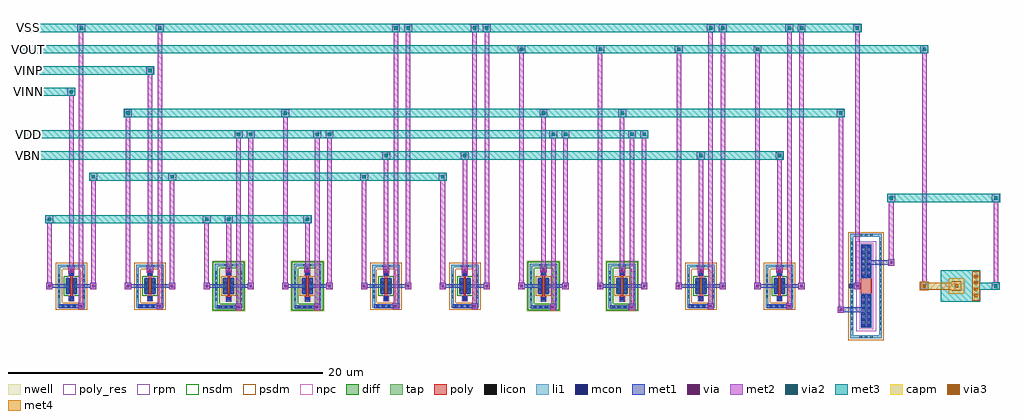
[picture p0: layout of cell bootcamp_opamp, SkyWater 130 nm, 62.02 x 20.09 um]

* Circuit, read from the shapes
.subckt bootcamp_opamp VBN VDD VINN VINP VOUT VSS
XM1 n1 VINN n2 VSS sky130_fd_pr__nfet_01v8 w=1 l=0.15
XM2 n1 VINP n3 VSS sky130_fd_pr__nfet_01v8 w=1 l=0.15
XM3 VSS VBN n1 VSS sky130_fd_pr__nfet_01v8 w=1 l=0.15 m=2
XM4 VSS VBN VOUT VSS sky130_fd_pr__nfet_01v8 w=1 l=0.15 m=2
XM5 VDD n2 n2 VDD sky130_fd_pr__pfet_01v8 w=1 l=0.15
XM6 VDD n2 n3 VDD sky130_fd_pr__pfet_01v8 w=1 l=0.15
XM7 VDD n3 VOUT VDD sky130_fd_pr__pfet_01v8 w=1 l=0.15 m=2
XC8 VOUT n4 sky130_fd_pr__cap_mim_m3_1 w=1 l=1
XR9 n4 n3 VSS sky130_fd_pr__res_high_po w=0.69 l=1
.ends

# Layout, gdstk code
import gdstk
lib = gdstk.Library(unit=1e-6, precision=1e-09)
def R(c, l, rs):  # rectangles x0, y0, x1, y1
    for r in rs: c.add(gdstk.rectangle(r[:2], r[2:], *l))
def A(c, l, x, y, w, h, nx, ny, dx, dy):  # array of equal rectangles
    R(c, l, [(x+i*dx, y+j*dy, x+i*dx+w, y+j*dy+h) for i in range(nx) for j in range(ny)])
nwell = (64, 20)
diff = (65, 20)
tap = (65, 44)
poly_res = (66, 13)
poly = (66, 20)
licon = (66, 44)
li1 = (67, 20)
mcon = (67, 44)
met1 = (68, 20)
via = (68, 44)
met2 = (69, 20)
via2 = (69, 44)
met3 = (70, 20)
via3 = (70, 44)
met4 = (71, 20)
rpm = (86, 20)
capm = (89, 44)
nsdm = (93, 44)
psdm = (94, 20)
npc = (95, 20)

bootcamp_opamp = lib.new_cell('bootcamp_opamp')
R(bootcamp_opamp, nwell, [(8.945,-1.595,11.055,1.595), (13.945,-1.595,16.055,1.595), (28.945,-1.595,31.055,1.595), (33.945,-1.595,36.055,1.595)])
A(bootcamp_opamp, diff, -0.365, -0.5, 0.73, 1, 10, 1, 5, 0)
R(bootcamp_opamp, tap, [(49.505,-3.31,51.495,-3.14), (49.505,-3.14,49.675,3.14), (51.325,-3.14,51.495,3.14), (9.125,-1.415,10.875,-1.245), (14.125,-1.415,15.875,-1.245), (29.125,-1.415,30.875,-1.245), (34.125,-1.415,35.875,-1.245), (-0.875,-1.37,0.875,-1.2), (4.125,-1.37,5.875,-1.2), (19.125,-1.37,20.875,-1.2), (24.125,-1.37,25.875,-1.2), (39.125,-1.37,40.875,-1.2), (44.125,-1.37,45.875,-1.2), (9.125,-1.245,9.295,1.245), (10.705,-1.245,10.875,1.245), (14.125,-1.245,14.295,1.245), (15.705,-1.245,15.875,1.245), (29.125,-1.245,29.295,1.245), (30.705,-1.245,30.875,1.245), (34.125,-1.245,34.295,1.245), (35.705,-1.245,35.875,1.245), (-0.875,-1.2,-0.705,1.2), (0.705,-1.2,0.875,1.2), (4.125,-1.2,4.295,1.2), (5.705,-1.2,5.875,1.2), (19.125,-1.2,19.295,1.2), (20.705,-1.2,20.875,1.2), (24.125,-1.2,24.295,1.2), (25.705,-1.2,25.875,1.2), (39.125,-1.2,39.295,1.2), (40.705,-1.2,40.875,1.2), (44.125,-1.2,44.295,1.2), (45.705,-1.2,45.875,1.2), (-0.875,1.2,0.875,1.37), (4.125,1.2,5.875,1.37), (19.125,1.2,20.875,1.37), (24.125,1.2,25.875,1.37), (39.125,1.2,40.875,1.37), (44.125,1.2,45.875,1.37), (9.125,1.245,10.875,1.415), (14.125,1.245,15.875,1.415), (29.125,1.245,30.875,1.415), (34.125,1.245,35.875,1.415), (49.505,3.14,51.495,3.31)])
R(bootcamp_opamp, poly_res, [(50.155,-0.56,50.845,0.56)])
R(bootcamp_opamp, poly, [(50.155,-2.66,50.845,2.66), (9.835,-0.985,10.165,-0.655), (14.835,-0.985,15.165,-0.655), (29.835,-0.985,30.165,-0.655), (34.835,-0.985,35.165,-0.655), (-0.165,-0.94,0.165,-0.61), (4.835,-0.94,5.165,-0.61), (19.835,-0.94,20.165,-0.61), (24.835,-0.94,25.165,-0.61), (39.835,-0.94,40.165,-0.61), (44.835,-0.94,45.165,-0.61), (9.925,-0.655,10.075,0.655), (14.925,-0.655,15.075,0.655), (29.925,-0.655,30.075,0.655), (34.925,-0.655,35.075,0.655), (-0.075,-0.61,0.075,0.61), (4.925,-0.61,5.075,0.61), (19.925,-0.61,20.075,0.61), (24.925,-0.61,25.075,0.61), (39.925,-0.61,40.075,0.61), (44.925,-0.61,45.075,0.61), (-0.165,0.61,0.165,0.94), (4.835,0.61,5.165,0.94), (19.835,0.61,20.165,0.94), (24.835,0.61,25.165,0.94), (39.835,0.61,40.165,0.94), (44.835,0.61,45.165,0.94), (9.835,0.655,10.165,0.985), (14.835,0.655,15.165,0.985), (29.835,0.655,30.165,0.985), (34.835,0.655,35.165,0.985)])
A(bootcamp_opamp, licon, 50.075, -3.31, 0.17, 0.17, 3, 2, 0.34, 6.45)
A(bootcamp_opamp, licon, 49.505, -2.805, 0.17, 0.17, 1, 17, 0, 0.34)
A(bootcamp_opamp, licon, 51.325, -2.805, 0.17, 0.17, 1, 17, 0, 0.34)
A(bootcamp_opamp, licon, 9.125, -0.935, 0.17, 0.17, 1, 6, 0, 0.34)
A(bootcamp_opamp, licon, 10.705, -0.935, 0.17, 0.17, 1, 6, 0, 0.34)
A(bootcamp_opamp, licon, 14.125, -0.935, 0.17, 0.17, 1, 6, 0, 0.34)
A(bootcamp_opamp, licon, 15.705, -0.935, 0.17, 0.17, 1, 6, 0, 0.34)
A(bootcamp_opamp, licon, 29.125, -0.935, 0.17, 0.17, 1, 6, 0, 0.34)
A(bootcamp_opamp, licon, 30.705, -0.935, 0.17, 0.17, 1, 6, 0, 0.34)
A(bootcamp_opamp, licon, 34.125, -0.935, 0.17, 0.17, 1, 6, 0, 0.34)
A(bootcamp_opamp, licon, 35.705, -0.935, 0.17, 0.17, 1, 6, 0, 0.34)
A(bootcamp_opamp, licon, -0.875, -0.765, 0.17, 0.17, 1, 5, 0, 0.34)
A(bootcamp_opamp, licon, 0.705, -0.765, 0.17, 0.17, 1, 5, 0, 0.34)
A(bootcamp_opamp, licon, 4.125, -0.765, 0.17, 0.17, 1, 5, 0, 0.34)
A(bootcamp_opamp, licon, 5.705, -0.765, 0.17, 0.17, 1, 5, 0, 0.34)
A(bootcamp_opamp, licon, 19.125, -0.765, 0.17, 0.17, 1, 5, 0, 0.34)
A(bootcamp_opamp, licon, 20.705, -0.765, 0.17, 0.17, 1, 5, 0, 0.34)
A(bootcamp_opamp, licon, 24.125, -0.765, 0.17, 0.17, 1, 5, 0, 0.34)
A(bootcamp_opamp, licon, 25.705, -0.765, 0.17, 0.17, 1, 5, 0, 0.34)
A(bootcamp_opamp, licon, 39.125, -0.765, 0.17, 0.17, 1, 5, 0, 0.34)
A(bootcamp_opamp, licon, 40.705, -0.765, 0.17, 0.17, 1, 5, 0, 0.34)
A(bootcamp_opamp, licon, 44.125, -0.765, 0.17, 0.17, 1, 5, 0, 0.34)
A(bootcamp_opamp, licon, 45.705, -0.765, 0.17, 0.17, 1, 5, 0, 0.34)
A(bootcamp_opamp, licon, -0.305, -0.425, 0.17, 0.17, 1, 3, 0, 0.34)
A(bootcamp_opamp, licon, 0.135, -0.425, 0.17, 0.17, 1, 3, 0, 0.34)
A(bootcamp_opamp, licon, 4.695, -0.425, 0.17, 0.17, 1, 3, 0, 0.34)
A(bootcamp_opamp, licon, 5.135, -0.425, 0.17, 0.17, 1, 3, 0, 0.34)
A(bootcamp_opamp, licon, 9.695, -0.425, 0.17, 0.17, 1, 3, 0, 0.34)
A(bootcamp_opamp, licon, 10.135, -0.425, 0.17, 0.17, 1, 3, 0, 0.34)
A(bootcamp_opamp, licon, 14.695, -0.425, 0.17, 0.17, 1, 3, 0, 0.34)
A(bootcamp_opamp, licon, 15.135, -0.425, 0.17, 0.17, 1, 3, 0, 0.34)
A(bootcamp_opamp, licon, 19.695, -0.425, 0.17, 0.17, 1, 3, 0, 0.34)
A(bootcamp_opamp, licon, 20.135, -0.425, 0.17, 0.17, 1, 3, 0, 0.34)
A(bootcamp_opamp, licon, 24.695, -0.425, 0.17, 0.17, 1, 3, 0, 0.34)
A(bootcamp_opamp, licon, 25.135, -0.425, 0.17, 0.17, 1, 3, 0, 0.34)
A(bootcamp_opamp, licon, 29.695, -0.425, 0.17, 0.17, 1, 3, 0, 0.34)
A(bootcamp_opamp, licon, 30.135, -0.425, 0.17, 0.17, 1, 3, 0, 0.34)
A(bootcamp_opamp, licon, 34.695, -0.425, 0.17, 0.17, 1, 3, 0, 0.34)
A(bootcamp_opamp, licon, 35.135, -0.425, 0.17, 0.17, 1, 3, 0, 0.34)
A(bootcamp_opamp, licon, 39.695, -0.425, 0.17, 0.17, 1, 3, 0, 0.34)
A(bootcamp_opamp, licon, 40.135, -0.425, 0.17, 0.17, 1, 3, 0, 0.34)
A(bootcamp_opamp, licon, 44.695, -0.425, 0.17, 0.17, 1, 3, 0, 0.34)
A(bootcamp_opamp, licon, 45.135, -0.425, 0.17, 0.17, 1, 3, 0, 0.34)
R(bootcamp_opamp, licon, [(50.405,-2.58,50.595,-0.58), (9.745,-1.415,9.915,-1.245), (10.085,-1.415,10.255,-1.245), (14.745,-1.415,14.915,-1.245), (15.085,-1.415,15.255,-1.245), (29.745,-1.415,29.915,-1.245), (30.085,-1.415,30.255,-1.245), (34.745,-1.415,34.915,-1.245), (35.085,-1.415,35.255,-1.245), (-0.255,-1.37,-0.085,-1.2), (0.085,-1.37,0.255,-1.2), (4.745,-1.37,4.915,-1.2), (5.085,-1.37,5.255,-1.2), (19.745,-1.37,19.915,-1.2), (20.085,-1.37,20.255,-1.2), (24.745,-1.37,24.915,-1.2), (25.085,-1.37,25.255,-1.2), (39.745,-1.37,39.915,-1.2), (40.085,-1.37,40.255,-1.2), (44.745,-1.37,44.915,-1.2), (45.085,-1.37,45.255,-1.2), (9.915,-0.905,10.085,-0.735), (14.915,-0.905,15.085,-0.735), (29.915,-0.905,30.085,-0.735), (34.915,-0.905,35.085,-0.735), (-0.085,-0.86,0.085,-0.69), (4.915,-0.86,5.085,-0.69), (19.915,-0.86,20.085,-0.69), (24.915,-0.86,25.085,-0.69), (39.915,-0.86,40.085,-0.69), (44.915,-0.86,45.085,-0.69), (50.405,0.58,50.595,2.58), (-0.085,0.69,0.085,0.86), (4.915,0.69,5.085,0.86), (19.915,0.69,20.085,0.86), (24.915,0.69,25.085,0.86), (39.915,0.69,40.085,0.86), (44.915,0.69,45.085,0.86), (9.915,0.735,10.085,0.905), (14.915,0.735,15.085,0.905), (29.915,0.735,30.085,0.905), (34.915,0.735,35.085,0.905), (-0.255,1.2,-0.085,1.37), (0.085,1.2,0.255,1.37), (4.745,1.2,4.915,1.37), (5.085,1.2,5.255,1.37), (19.745,1.2,19.915,1.37), (20.085,1.2,20.255,1.37), (24.745,1.2,24.915,1.37), (25.085,1.2,25.255,1.37), (39.745,1.2,39.915,1.37), (40.085,1.2,40.255,1.37), (44.745,1.2,44.915,1.37), (45.085,1.2,45.255,1.37), (9.745,1.245,9.915,1.415), (10.085,1.245,10.255,1.415), (14.745,1.245,14.915,1.415), (15.085,1.245,15.255,1.415), (29.745,1.245,29.915,1.415), (30.085,1.245,30.255,1.415), (34.745,1.245,34.915,1.415), (35.085,1.245,35.255,1.415)])
R(bootcamp_opamp, li1, [(49.505,-3.31,51.495,-3.14), (49.505,-3.14,49.675,-0.1), (51.325,-3.14,51.495,3.14), (50.155,-2.66,50.845,-0.5), (9.125,-1.415,10.875,-1.245), (14.125,-1.415,15.875,-1.245), (29.125,-1.415,30.875,-1.245), (34.125,-1.415,35.875,-1.245), (-0.875,-1.37,0.875,-1.2), (4.125,-1.37,5.875,-1.2), (19.125,-1.37,20.875,-1.2), (24.125,-1.37,25.875,-1.2), (39.125,-1.37,40.875,-1.2), (44.125,-1.37,45.875,-1.2), (9.125,-1.245,9.295,1.245), (10.705,-1.245,10.875,1.245), (14.125,-1.245,14.295,1.245), (15.705,-1.245,15.875,1.245), (29.125,-1.245,29.295,1.245), (30.705,-1.245,30.875,1.245), (34.125,-1.245,34.295,1.245), (35.705,-1.245,35.875,1.245), (-0.875,-1.2,-0.705,1.2), (0.705,-1.2,0.875,1.2), (4.125,-1.2,4.295,1.2), (5.705,-1.2,5.875,1.2), (19.125,-1.2,19.295,1.2), (20.705,-1.2,20.875,1.2), (24.125,-1.2,24.295,1.2), (25.705,-1.2,25.875,1.2), (39.125,-1.2,39.295,1.2), (40.705,-1.2,40.875,1.2), (44.125,-1.2,44.295,1.2), (45.705,-1.2,45.875,1.2), (9.835,-0.905,10.165,-0.735), (14.835,-0.905,15.165,-0.735), (29.835,-0.905,30.165,-0.735), (34.835,-0.905,35.165,-0.735), (-0.165,-0.86,0.165,-0.69), (4.835,-0.86,5.165,-0.69), (19.835,-0.86,20.165,-0.69), (24.835,-0.86,25.165,-0.69), (39.835,-0.86,40.165,-0.69), (44.835,-0.86,45.165,-0.69), (-0.305,-0.52,-0.135,0.52), (0.135,-0.52,0.305,0.52), (4.695,-0.52,4.865,0.52), (5.135,-0.52,5.305,0.52), (9.695,-0.52,9.865,0.52), (10.135,-0.52,10.305,0.52), (14.695,-0.52,14.865,0.52), (15.135,-0.52,15.305,0.52), (19.695,-0.52,19.865,0.52), (20.135,-0.52,20.305,0.52), (24.695,-0.52,24.865,0.52), (25.135,-0.52,25.305,0.52), (29.695,-0.52,29.865,0.52), (30.135,-0.52,30.305,0.52), (34.695,-0.52,34.865,0.52), (35.135,-0.52,35.305,0.52), (39.695,-0.52,39.865,0.52), (40.135,-0.52,40.305,0.52), (44.695,-0.52,44.865,0.52), (45.135,-0.52,45.305,0.52), (49.49,-0.1,49.69,0.1), (49.505,0.1,49.675,3.14), (50.155,0.5,50.845,2.66), (-0.165,0.69,0.165,0.86), (4.835,0.69,5.165,0.86), (19.835,0.69,20.165,0.86), (24.835,0.69,25.165,0.86), (39.835,0.69,40.165,0.86), (44.835,0.69,45.165,0.86), (9.835,0.735,10.165,0.905), (14.835,0.735,15.165,0.905), (29.835,0.735,30.165,0.905), (34.835,0.735,35.165,0.905), (-0.875,1.2,0.875,1.37), (4.125,1.2,5.875,1.37), (19.125,1.2,20.875,1.37), (24.125,1.2,25.875,1.37), (39.125,1.2,40.875,1.37), (44.125,1.2,45.875,1.37), (9.125,1.245,10.875,1.415), (14.125,1.245,15.875,1.415), (29.125,1.245,30.875,1.415), (34.125,1.245,35.875,1.415), (49.505,3.14,51.495,3.31)])
A(bootcamp_opamp, mcon, 50.235, -2.565, 0.17, 0.17, 1, 6, 0, 0.36)
A(bootcamp_opamp, mcon, 50.595, -2.565, 0.17, 0.17, 1, 6, 0, 0.36)
A(bootcamp_opamp, mcon, 9.375, -1.415, 0.17, 0.17, 4, 1, 0.36, 0)
A(bootcamp_opamp, mcon, 14.375, -1.415, 0.17, 0.17, 4, 1, 0.36, 0)
A(bootcamp_opamp, mcon, 29.375, -1.415, 0.17, 0.17, 4, 1, 0.36, 0)
A(bootcamp_opamp, mcon, 34.375, -1.415, 0.17, 0.17, 4, 1, 0.36, 0)
A(bootcamp_opamp, mcon, -0.625, -1.37, 0.17, 0.17, 4, 1, 0.36, 0)
A(bootcamp_opamp, mcon, 4.375, -1.37, 0.17, 0.17, 4, 1, 0.36, 0)
A(bootcamp_opamp, mcon, 19.375, -1.37, 0.17, 0.17, 4, 1, 0.36, 0)
A(bootcamp_opamp, mcon, 24.375, -1.37, 0.17, 0.17, 4, 1, 0.36, 0)
A(bootcamp_opamp, mcon, 39.375, -1.37, 0.17, 0.17, 4, 1, 0.36, 0)
A(bootcamp_opamp, mcon, 44.375, -1.37, 0.17, 0.17, 4, 1, 0.36, 0)
A(bootcamp_opamp, mcon, 50.235, 0.59, 0.17, 0.17, 1, 6, 0, 0.36)
A(bootcamp_opamp, mcon, 50.595, 0.59, 0.17, 0.17, 1, 6, 0, 0.36)
R(bootcamp_opamp, mcon, [(9.915,-0.905,10.085,-0.735), (14.915,-0.905,15.085,-0.735), (29.915,-0.905,30.085,-0.735), (34.915,-0.905,35.085,-0.735), (-0.085,-0.86,0.085,-0.69), (4.915,-0.86,5.085,-0.69), (19.915,-0.86,20.085,-0.69), (24.915,-0.86,25.085,-0.69), (39.915,-0.86,40.085,-0.69), (44.915,-0.86,45.085,-0.69), (-0.305,-0.265,-0.135,-0.095), (0.135,-0.265,0.305,-0.095), (4.695,-0.265,4.865,-0.095), (5.135,-0.265,5.305,-0.095), (9.695,-0.265,9.865,-0.095), (10.135,-0.265,10.305,-0.095), (14.695,-0.265,14.865,-0.095), (15.135,-0.265,15.305,-0.095), (19.695,-0.265,19.865,-0.095), (20.135,-0.265,20.305,-0.095), (24.695,-0.265,24.865,-0.095), (25.135,-0.265,25.305,-0.095), (29.695,-0.265,29.865,-0.095), (30.135,-0.265,30.305,-0.095), (34.695,-0.265,34.865,-0.095), (35.135,-0.265,35.305,-0.095), (39.695,-0.265,39.865,-0.095), (40.135,-0.265,40.305,-0.095), (44.695,-0.265,44.865,-0.095), (45.135,-0.265,45.305,-0.095), (49.505,-0.085,49.675,0.085), (-0.305,0.095,-0.135,0.265), (0.135,0.095,0.305,0.265), (4.695,0.095,4.865,0.265), (5.135,0.095,5.305,0.265), (9.695,0.095,9.865,0.265), (10.135,0.095,10.305,0.265), (14.695,0.095,14.865,0.265), (15.135,0.095,15.305,0.265), (19.695,0.095,19.865,0.265), (20.135,0.095,20.305,0.265), (24.695,0.095,24.865,0.265), (25.135,0.095,25.305,0.265), (29.695,0.095,29.865,0.265), (30.135,0.095,30.305,0.265), (34.695,0.095,34.865,0.265), (35.135,0.095,35.305,0.265), (39.695,0.095,39.865,0.265), (40.135,0.095,40.305,0.265), (44.695,0.095,44.865,0.265), (45.135,0.095,45.305,0.265), (-0.085,0.69,0.085,0.86), (4.915,0.69,5.085,0.86), (19.915,0.69,20.085,0.86), (24.915,0.69,25.085,0.86), (39.915,0.69,40.085,0.86), (44.915,0.69,45.085,0.86), (9.915,0.735,10.085,0.905), (14.915,0.735,15.085,0.905), (29.915,0.735,30.085,0.905), (34.915,0.735,35.085,0.905)])
R(bootcamp_opamp, met1, [(50.205,-2.63,50.795,-1.65), (48.705,-1.695,49.095,-1.65), (48.705,-1.65,50.795,-1.35), (10.43,-1.525,10.82,-1.45), (15.43,-1.525,15.82,-1.45), (30.43,-1.525,30.82,-1.45), (35.43,-1.525,35.82,-1.45), (0.43,-1.48,0.82,-1.405), (5.43,-1.48,5.82,-1.405), (20.43,-1.48,20.82,-1.405), (25.43,-1.48,25.82,-1.405), (40.43,-1.48,40.82,-1.405), (45.43,-1.48,45.82,-1.405), (9.88,-1.45,10.82,-1.445), (14.88,-1.45,15.82,-1.445), (29.88,-1.45,30.82,-1.445), (34.88,-1.45,35.82,-1.445), (9.235,-1.445,10.82,-1.215), (14.235,-1.445,15.82,-1.215), (29.235,-1.445,30.82,-1.215), (34.235,-1.445,35.82,-1.215), (-0.12,-1.405,0.82,-1.4), (4.88,-1.405,5.82,-1.4), (19.88,-1.405,20.82,-1.4), (24.88,-1.405,25.82,-1.4), (39.88,-1.405,40.82,-1.4), (44.88,-1.405,45.82,-1.4), (-0.765,-1.4,0.82,-1.17), (4.235,-1.4,5.82,-1.17), (19.235,-1.4,20.82,-1.17), (24.235,-1.4,25.82,-1.17), (39.235,-1.4,40.82,-1.17), (44.235,-1.4,45.82,-1.17), (48.705,-1.35,49.095,-1.305), (50.205,-1.35,50.795,-0.525), (9.88,-1.215,10.82,-1.21), (14.88,-1.215,15.82,-1.21), (29.88,-1.215,30.82,-1.21), (34.88,-1.215,35.82,-1.21), (10.43,-1.21,10.82,-1.135), (15.43,-1.21,15.82,-1.135), (30.43,-1.21,30.82,-1.135), (35.43,-1.21,35.82,-1.135), (-0.12,-1.17,0.82,-1.165), (4.88,-1.17,5.82,-1.165), (19.88,-1.17,20.82,-1.165), (24.88,-1.17,25.82,-1.165), (39.88,-1.17,40.82,-1.165), (44.88,-1.17,45.82,-1.165), (0.43,-1.165,0.82,-1.09), (5.43,-1.165,5.82,-1.09), (20.43,-1.165,20.82,-1.09), (25.43,-1.165,25.82,-1.09), (40.43,-1.165,40.82,-1.09), (45.43,-1.165,45.82,-1.09), (9.855,-1.005,10.145,-0.705), (14.855,-1.005,15.145,-0.705), (29.855,-1.005,30.145,-0.705), (34.855,-1.005,35.145,-0.705), (-0.145,-0.96,0.145,-0.66), (4.855,-0.96,5.145,-0.66), (19.855,-0.96,20.145,-0.66), (24.855,-0.96,25.145,-0.66), (39.855,-0.96,40.145,-0.66), (44.855,-0.96,45.145,-0.66), (-0.335,-0.5,-0.105,-0.12), (0.105,-0.5,0.335,-0.12), (4.665,-0.5,4.895,-0.12), (5.105,-0.5,5.335,-0.12), (9.665,-0.5,9.895,-0.12), (10.105,-0.5,10.335,-0.12), (14.665,-0.5,14.895,-0.12), (15.105,-0.5,15.335,-0.12), (19.665,-0.5,19.895,-0.12), (20.105,-0.5,20.335,-0.12), (24.665,-0.5,24.895,-0.12), (25.105,-0.5,25.335,-0.12), (29.665,-0.5,29.895,-0.12), (30.105,-0.5,30.335,-0.12), (34.665,-0.5,34.895,-0.12), (35.105,-0.5,35.335,-0.12), (39.665,-0.5,39.895,-0.12), (40.105,-0.5,40.335,-0.12), (44.665,-0.5,44.895,-0.12), (45.105,-0.5,45.335,-0.12), (-1.595,-0.195,-1.205,-0.12), (1.205,-0.195,1.595,-0.12), (3.405,-0.195,3.795,-0.12), (6.205,-0.195,6.595,-0.12), (8.405,-0.195,8.795,-0.12), (11.205,-0.195,11.595,-0.12), (13.405,-0.195,13.795,-0.12), (16.205,-0.195,16.595,-0.12), (18.405,-0.195,18.795,-0.12), (21.205,-0.195,21.595,-0.12), (23.405,-0.195,23.795,-0.12), (26.205,-0.195,26.595,-0.12), (28.405,-0.195,28.795,-0.12), (31.205,-0.195,31.595,-0.12), (33.405,-0.195,33.795,-0.12), (36.205,-0.195,36.595,-0.12), (38.405,-0.195,38.795,-0.12), (41.205,-0.195,41.595,-0.12), (43.405,-0.195,43.795,-0.12), (46.205,-0.195,46.595,-0.12), (49.755,-0.195,50.145,-0.145), (49.425,-0.145,50.145,0.145), (-1.595,-0.12,-0.1,0.12), (0.1,-0.12,1.595,0.12), (3.405,-0.12,4.9,0.12), (5.1,-0.12,6.595,0.12), (8.405,-0.12,9.9,0.12), (10.1,-0.12,11.595,0.12), (13.405,-0.12,14.9,0.12), (15.1,-0.12,16.595,0.12), (18.405,-0.12,19.9,0.12), (20.1,-0.12,21.595,0.12), (23.405,-0.12,24.9,0.12), (25.1,-0.12,26.595,0.12), (28.405,-0.12,29.9,0.12), (30.1,-0.12,31.595,0.12), (33.405,-0.12,34.9,0.12), (35.1,-0.12,36.595,0.12), (38.405,-0.12,39.9,0.12), (40.1,-0.12,41.595,0.12), (43.405,-0.12,44.9,0.12), (45.1,-0.12,46.595,0.12), (-1.595,0.12,-1.205,0.195), (-0.335,0.12,-0.105,0.5), (0.105,0.12,0.335,0.5), (1.205,0.12,1.595,0.195), (3.405,0.12,3.795,0.195), (4.665,0.12,4.895,0.5), (5.105,0.12,5.335,0.5), (6.205,0.12,6.595,0.195), (8.405,0.12,8.795,0.195), (9.665,0.12,9.895,0.5), (10.105,0.12,10.335,0.5), (11.205,0.12,11.595,0.195), (13.405,0.12,13.795,0.195), (14.665,0.12,14.895,0.5), (15.105,0.12,15.335,0.5), (16.205,0.12,16.595,0.195), (18.405,0.12,18.795,0.195), (19.665,0.12,19.895,0.5), (20.105,0.12,20.335,0.5), (21.205,0.12,21.595,0.195), (23.405,0.12,23.795,0.195), (24.665,0.12,24.895,0.5), (25.105,0.12,25.335,0.5), (26.205,0.12,26.595,0.195), (28.405,0.12,28.795,0.195), (29.665,0.12,29.895,0.5), (30.105,0.12,30.335,0.5), (31.205,0.12,31.595,0.195), (33.405,0.12,33.795,0.195), (34.665,0.12,34.895,0.5), (35.105,0.12,35.335,0.5), (36.205,0.12,36.595,0.195), (38.405,0.12,38.795,0.195), (39.665,0.12,39.895,0.5), (40.105,0.12,40.335,0.5), (41.205,0.12,41.595,0.195), (43.405,0.12,43.795,0.195), (44.665,0.12,44.895,0.5), (45.105,0.12,45.335,0.5), (46.205,0.12,46.595,0.195), (49.755,0.145,50.145,0.195), (50.205,0.525,50.795,1.35), (-0.12,0.655,0.12,0.66), (4.88,0.655,5.12,0.66), (19.88,0.655,20.12,0.66), (24.88,0.655,25.12,0.66), (39.88,0.655,40.12,0.66), (44.88,0.655,45.12,0.66), (-0.145,0.66,0.145,0.83), (4.855,0.66,5.145,0.83), (19.855,0.66,20.145,0.83), (24.855,0.66,25.145,0.83), (39.855,0.66,40.145,0.83), (44.855,0.66,45.145,0.83), (9.88,0.7,10.12,0.705), (14.88,0.7,15.12,0.705), (29.88,0.7,30.12,0.705), (34.88,0.7,35.12,0.705), (9.855,0.705,10.145,0.875), (14.855,0.705,15.145,0.875), (29.855,0.705,30.145,0.875), (34.855,0.705,35.145,0.875), (-0.195,0.83,0.195,1.22), (4.805,0.83,5.195,1.22), (19.805,0.83,20.195,1.22), (24.805,0.83,25.195,1.22), (39.805,0.83,40.195,1.22), (44.805,0.83,45.195,1.22), (9.805,0.875,10.195,1.265), (14.805,0.875,15.195,1.265), (29.805,0.875,30.195,1.265), (34.805,0.875,35.195,1.265), (51.905,1.305,52.295,1.35), (50.205,1.35,52.295,1.65), (50.205,1.65,50.795,2.63), (51.905,1.65,52.295,1.695)])
R(bootcamp_opamp, via, [(48.825,-1.575,48.975,-1.425), (10.55,-1.405,10.7,-1.255), (15.55,-1.405,15.7,-1.255), (30.55,-1.405,30.7,-1.255), (35.55,-1.405,35.7,-1.255), (0.55,-1.36,0.7,-1.21), (5.55,-1.36,5.7,-1.21), (20.55,-1.36,20.7,-1.21), (25.55,-1.36,25.7,-1.21), (40.55,-1.36,40.7,-1.21), (45.55,-1.36,45.7,-1.21), (-1.475,-0.075,-1.325,0.075), (1.325,-0.075,1.475,0.075), (3.525,-0.075,3.675,0.075), (6.325,-0.075,6.475,0.075), (8.525,-0.075,8.675,0.075), (11.325,-0.075,11.475,0.075), (13.525,-0.075,13.675,0.075), (16.325,-0.075,16.475,0.075), (18.525,-0.075,18.675,0.075), (21.325,-0.075,21.475,0.075), (23.525,-0.075,23.675,0.075), (26.325,-0.075,26.475,0.075), (28.525,-0.075,28.675,0.075), (31.325,-0.075,31.475,0.075), (33.525,-0.075,33.675,0.075), (36.325,-0.075,36.475,0.075), (38.525,-0.075,38.675,0.075), (41.325,-0.075,41.475,0.075), (43.525,-0.075,43.675,0.075), (46.325,-0.075,46.475,0.075), (49.875,-0.075,50.025,0.075), (-0.075,0.95,0.075,1.1), (4.925,0.95,5.075,1.1), (19.925,0.95,20.075,1.1), (24.925,0.95,25.075,1.1), (39.925,0.95,40.075,1.1), (44.925,0.95,45.075,1.1), (9.925,0.995,10.075,1.145), (14.925,0.995,15.075,1.145), (29.925,0.995,30.075,1.145), (34.925,0.995,35.075,1.145), (52.025,1.425,52.175,1.575)])
A(bootcamp_opamp, met2, 28.455, 0.195, 0.29, 14.605, 4, 1, 5, 0)
A(bootcamp_opamp, met2, 28.35, 14.8, 0.5, 0.5, 4, 1, 5, 0)
R(bootcamp_opamp, met2, [(48.705,-1.695,49.095,-1.305), (10.43,-1.525,10.82,-1.135), (15.43,-1.525,15.82,-1.135), (30.43,-1.525,30.82,-1.135), (35.43,-1.525,35.82,-1.135), (0.43,-1.48,0.82,-1.09), (5.43,-1.48,5.82,-1.09), (20.43,-1.48,20.82,-1.09), (25.43,-1.48,25.82,-1.09), (40.43,-1.48,40.82,-1.09), (45.43,-1.48,45.82,-1.09), (48.755,-1.305,49.045,10.75), (10.48,-1.135,10.77,9.4), (15.48,-1.135,15.77,9.4), (30.48,-1.135,30.77,9.4), (35.48,-1.135,35.77,9.4), (0.48,-1.09,0.77,16.15), (5.48,-1.09,5.77,16.15), (20.48,-1.09,20.77,16.15), (25.48,-1.09,25.77,16.15), (40.48,-1.09,40.77,16.15), (45.48,-1.09,45.77,16.15), (53.95,-0.25,54.45,0.25), (58.5,-0.25,59,0.25), (-1.595,-0.195,-1.205,0.195), (1.205,-0.195,1.595,0.195), (3.405,-0.195,3.795,0.195), (6.205,-0.195,6.595,0.195), (8.405,-0.195,8.795,0.195), (11.205,-0.195,11.595,0.195), (13.405,-0.195,13.795,0.195), (16.205,-0.195,16.595,0.195), (18.405,-0.195,18.795,0.195), (21.205,-0.195,21.595,0.195), (23.405,-0.195,23.795,0.195), (26.205,-0.195,26.595,0.195), (28.405,-0.195,28.795,0.195), (31.205,-0.195,31.595,0.195), (33.405,-0.195,33.795,0.195), (36.205,-0.195,36.595,0.195), (38.405,-0.195,38.795,0.195), (41.205,-0.195,41.595,0.195), (43.405,-0.195,43.795,0.195), (46.205,-0.195,46.595,0.195), (49.755,-0.195,50.145,0.195), (-1.545,0.195,-1.255,4), (1.255,0.195,1.545,6.7), (3.455,0.195,3.745,10.75), (6.255,0.195,6.545,6.7), (8.455,0.195,8.745,4), (11.255,0.195,11.545,9.4), (13.455,0.195,13.745,10.75), (16.255,0.195,16.545,9.4), (18.455,0.195,18.745,6.7), (21.255,0.195,21.545,16.15), (23.455,0.195,23.745,6.7), (26.255,0.195,26.545,16.15), (31.255,0.195,31.545,9.4), (36.255,0.195,36.545,9.4), (41.255,0.195,41.545,16.15), (46.255,0.195,46.545,16.15), (49.805,0.195,50.095,16.15), (54.055,0.25,54.345,14.8), (58.605,0.25,58.895,5.35), (-0.195,0.83,0.195,1.22), (4.805,0.83,5.195,1.22), (19.805,0.83,20.195,1.22), (24.805,0.83,25.195,1.22), (39.805,0.83,40.195,1.22), (44.805,0.83,45.195,1.22), (9.805,0.875,10.195,1.265), (14.805,0.875,15.195,1.265), (29.805,0.875,30.195,1.265), (34.805,0.875,35.195,1.265), (-0.145,1.22,0.145,12.1), (4.855,1.22,5.145,13.45), (19.855,1.22,20.145,8.05), (24.855,1.22,25.145,8.05), (39.855,1.22,40.145,8.05), (44.855,1.22,45.145,8.05), (9.855,1.265,10.145,4), (14.855,1.265,15.145,4), (29.855,1.265,30.145,10.75), (34.855,1.265,35.145,10.75), (51.905,1.305,52.295,1.695), (51.955,1.695,52.245,5.35), (-1.65,4,-1.15,4.5), (8.35,4,8.85,4.5), (9.75,4,10.25,4.5), (14.75,4,15.25,4.5), (51.85,5.35,52.35,5.85), (58.5,5.35,59,5.85), (1.15,6.7,1.65,7.2), (6.15,6.7,6.65,7.2), (18.35,6.7,18.85,7.2), (23.35,6.7,23.85,7.2), (19.75,8.05,20.25,8.55), (24.75,8.05,25.25,8.55), (39.75,8.05,40.25,8.55), (44.75,8.05,45.25,8.55), (10.375,9.4,10.875,9.9), (11.15,9.4,11.65,9.9), (15.375,9.4,15.875,9.9), (16.15,9.4,16.65,9.9), (30.375,9.4,30.875,9.9), (31.15,9.4,31.65,9.9), (35.375,9.4,35.875,9.9), (36.15,9.4,36.65,9.9), (3.35,10.75,3.85,11.25), (13.35,10.75,13.85,11.25), (29.75,10.75,30.25,11.25), (34.75,10.75,35.25,11.25), (48.65,10.75,49.15,11.25), (-0.25,12.1,0.25,12.6), (4.75,13.45,5.25,13.95), (53.95,14.8,54.45,15.3), (0.375,16.15,0.875,16.65), (5.375,16.15,5.875,16.65), (20.375,16.15,20.875,16.65), (21.15,16.15,21.65,16.65), (25.375,16.15,25.875,16.65), (26.15,16.15,26.65,16.65), (40.375,16.15,40.875,16.65), (41.15,16.15,41.65,16.65), (45.375,16.15,45.875,16.65), (46.15,16.15,46.65,16.65), (49.7,16.15,50.2,16.65)])
A(bootcamp_opamp, via2, 28.5, 14.95, 0.2, 0.2, 4, 1, 5, 0)
R(bootcamp_opamp, via2, [(54.1,-0.1,54.3,0.1), (58.65,-0.1,58.85,0.1), (-1.5,4.15,-1.3,4.35), (8.5,4.15,8.7,4.35), (9.9,4.15,10.1,4.35), (14.9,4.15,15.1,4.35), (52,5.5,52.2,5.7), (58.65,5.5,58.85,5.7), (1.3,6.85,1.5,7.05), (6.3,6.85,6.5,7.05), (18.5,6.85,18.7,7.05), (23.5,6.85,23.7,7.05), (19.9,8.2,20.1,8.4), (24.9,8.2,25.1,8.4), (39.9,8.2,40.1,8.4), (44.9,8.2,45.1,8.4), (10.525,9.55,10.725,9.75), (11.3,9.55,11.5,9.75), (15.525,9.55,15.725,9.75), (16.3,9.55,16.5,9.75), (30.525,9.55,30.725,9.75), (31.3,9.55,31.5,9.75), (35.525,9.55,35.725,9.75), (36.3,9.55,36.5,9.75), (3.5,10.9,3.7,11.1), (13.5,10.9,13.7,11.1), (29.9,10.9,30.1,11.1), (34.9,10.9,35.1,11.1), (48.8,10.9,49,11.1), (-0.1,12.25,0.1,12.45), (4.9,13.6,5.1,13.8), (54.1,14.95,54.3,15.15), (0.525,16.3,0.725,16.5), (5.525,16.3,5.725,16.5), (20.525,16.3,20.725,16.5), (21.3,16.3,21.5,16.5), (25.525,16.3,25.725,16.5), (26.3,16.3,26.5,16.5), (40.525,16.3,40.725,16.5), (41.3,16.3,41.5,16.5), (45.525,16.3,45.725,16.5), (46.3,16.3,46.5,16.5), (49.85,16.3,50.05,16.5)])
R(bootcamp_opamp, met3, [(55.25,-1,57.745,-0.225), (53.925,-0.275,54.475,0.275), (58.5,-0.25,59,-0.225), (55.25,-0.225,59,0.225), (55.25,0.225,57.745,1), (58.5,0.225,59,0.25), (-1.66,3.99,15.26,4.51), (51.84,5.34,59.01,5.86), (1.14,6.69,23.86,7.21), (-3.01,8.04,45.26,8.56), (-3.01,9.39,36.66,9.91), (3.34,10.74,49.16,11.26), (-3.01,12.09,0.26,12.61), (-3.01,13.44,5.26,13.96), (-3.01,14.79,54.46,15.31), (-3.01,16.14,50.21,16.66)])
A(bootcamp_opamp, via3, 57.385, -0.7, 0.2, 0.2, 1, 4, 0, 0.4)
R(bootcamp_opamp, via3, [(54.1,-0.1,54.3,0.1), (56.15,-0.1,56.35,0.1)])
R(bootcamp_opamp, met4, [(57.245,-0.94,57.725,0.94), (55.945,-0.305,56.555,-0.225), (53.925,-0.275,54.475,-0.225), (53.925,-0.225,56.555,0.225), (53.925,0.225,54.475,0.275), (55.945,0.225,56.555,0.305)])
R(bootcamp_opamp, rpm, [(49.865,-2.86,51.135,2.86)])
R(bootcamp_opamp, capm, [(55.75,-0.5,56.75,0.5)])
R(bootcamp_opamp, nsdm, [(9,-1.54,11,-1.12), (14,-1.54,16,-1.12), (29,-1.54,31,-1.12), (34,-1.54,36,-1.12), (9,-1.12,9.42,1.12), (10.58,-1.12,11,1.12), (14,-1.12,14.42,1.12), (15.58,-1.12,16,1.12), (29,-1.12,29.42,1.12), (30.58,-1.12,31,1.12), (34,-1.12,34.42,1.12), (35.58,-1.12,36,1.12), (-0.49,-0.625,0.49,0.625), (4.51,-0.625,5.49,0.625), (19.51,-0.625,20.49,0.625), (24.51,-0.625,25.49,0.625), (39.51,-0.625,40.49,0.625), (44.51,-0.625,45.49,0.625), (9,1.12,11,1.54), (14,1.12,16,1.54), (29,1.12,31,1.54), (34,1.12,36,1.54)])
R(bootcamp_opamp, psdm, [(49.38,-3.435,51.62,3.435), (-1,-1.495,1,-1.075), (4,-1.495,6,-1.075), (19,-1.495,21,-1.075), (24,-1.495,26,-1.075), (39,-1.495,41,-1.075), (44,-1.495,46,-1.075), (-1,-1.075,-0.58,1.075), (0.58,-1.075,1,1.075), (4,-1.075,4.42,1.075), (5.58,-1.075,6,1.075), (19,-1.075,19.42,1.075), (20.58,-1.075,21,1.075), (24,-1.075,24.42,1.075), (25.58,-1.075,26,1.075), (39,-1.075,39.42,1.075), (40.58,-1.075,41,1.075), (44,-1.075,44.42,1.075), (45.58,-1.075,46,1.075), (9.51,-0.625,10.49,0.625), (14.51,-0.625,15.49,0.625), (29.51,-0.625,30.49,0.625), (34.51,-0.625,35.49,0.625), (-1,1.075,1,1.495), (4,1.075,6,1.495), (19,1.075,21,1.495), (24,1.075,26,1.495), (39,1.075,41,1.495), (44,1.075,46,1.495)])
R(bootcamp_opamp, npc, [(50.06,-2.755,50.94,2.755), (9.815,-1.005,10.185,-0.635), (14.815,-1.005,15.185,-0.635), (29.815,-1.005,30.185,-0.635), (34.815,-1.005,35.185,-0.635), (-0.185,-0.96,0.185,-0.59), (4.815,-0.96,5.185,-0.59), (19.815,-0.96,20.185,-0.59), (24.815,-0.96,25.185,-0.59), (39.815,-0.96,40.185,-0.59), (44.815,-0.96,45.185,-0.59), (-0.185,0.59,0.185,0.96), (4.815,0.59,5.185,0.96), (19.815,0.59,20.185,0.96), (24.815,0.59,25.185,0.96), (39.815,0.59,40.185,0.96), (44.815,0.59,45.185,0.96), (9.815,0.635,10.185,1.005), (14.815,0.635,15.185,1.005), (29.815,0.635,30.185,1.005), (34.815,0.635,35.185,1.005)])
bootcamp_opamp.add(gdstk.Label('VINN', (-2.75,12.35), layer=70, texttype=16))
bootcamp_opamp.add(gdstk.Label('VDD', (-2.75,9.65), layer=70, texttype=16))
bootcamp_opamp.add(gdstk.Label('VSS', (-2.75,16.4), layer=70, texttype=16))
bootcamp_opamp.add(gdstk.Label('VINP', (-2.75,13.7), layer=70, texttype=16))
bootcamp_opamp.add(gdstk.Label('VOUT', (-2.75,15.05), layer=70, texttype=16))
bootcamp_opamp.add(gdstk.Label('VBN', (-2.75,8.3), layer=70, texttype=16))

lib.write_gds('bootcamp_opamp.gds')
